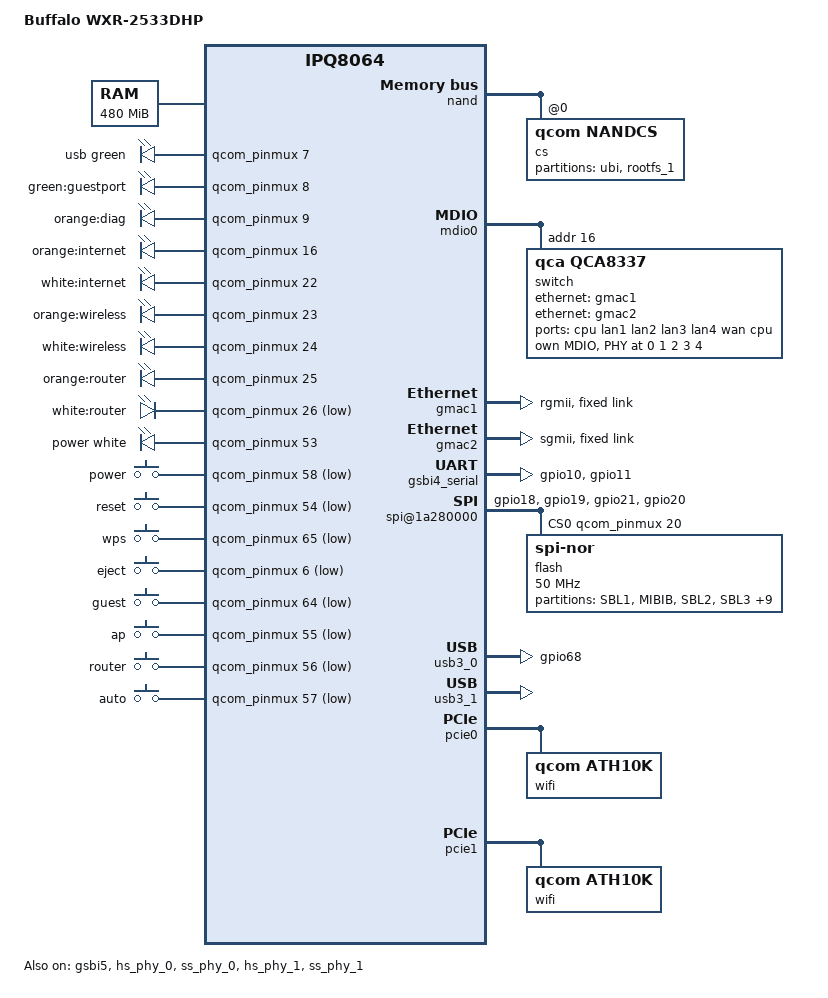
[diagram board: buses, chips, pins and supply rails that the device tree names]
// SPDX-License-Identifier: GPL-2.0-or-later OR MIT
#include "qcom-ipq8064-v2.0-smb208.dtsi"

#include <dt-bindings/input/input.h>
#include <dt-bindings/leds/common.h>

/ {
	model = "Buffalo WXR-2533DHP";
	compatible = "buffalo,wxr-2533dhp", "qcom,ipq8064";

	memory@42000000 {
		reg = <0x42000000 0x1e000000>;
		device_type = "memory";
	};

	aliases {
		led-boot = &power;
		led-failsafe = &diag;
		led-running = &power;
		led-upgrade = &power;
	};

	chosen {
		/* use "ubi_rootfs" volume in "ubi" partition as rootfs */
		bootargs = "ubi.block=0,1 root=/dev/ubiblock0_1 rootfstype=squashfs";
	};

	leds {
		compatible = "gpio-leds";
		pinctrl-0 = <&led_pins>;
		pinctrl-names = "default";

		usb {
			function = LED_FUNCTION_USB;
			color = <LED_COLOR_ID_GREEN>;
			gpios = <&qcom_pinmux 7 GPIO_ACTIVE_HIGH>;
			linux,default-trigger = "usbport";
			trigger-sources = <&hub_port0 &hub_port1>;
		};

		guestport {
			label = "green:guestport";
			gpios = <&qcom_pinmux 8 GPIO_ACTIVE_HIGH>;
		};

		diag: diag {
			label = "orange:diag";
			gpios = <&qcom_pinmux 9 GPIO_ACTIVE_HIGH>;
		};

		internet_orange {
			label = "orange:internet";
			gpios = <&qcom_pinmux 16 GPIO_ACTIVE_HIGH>;
		};

		internet_white {
			label = "white:internet";
			gpios = <&qcom_pinmux 22 GPIO_ACTIVE_HIGH>;
		};

		wireless_orange {
			label = "orange:wireless";
			gpios = <&qcom_pinmux 23 GPIO_ACTIVE_HIGH>;
		};

		wireless_white {
			label = "white:wireless";
			gpios = <&qcom_pinmux 24 GPIO_ACTIVE_HIGH>;
		};

		router_orange {
			label = "orange:router";
			gpios = <&qcom_pinmux 25 GPIO_ACTIVE_HIGH>;
		};

		router_white {
			label = "white:router";
			gpios = <&qcom_pinmux 26 GPIO_ACTIVE_LOW>;
		};

		power: power {
			function = LED_FUNCTION_POWER;
			color = <LED_COLOR_ID_WHITE>;
			gpios = <&qcom_pinmux 53 GPIO_ACTIVE_HIGH>;
		};
	};

	keys {
		compatible = "gpio-keys";
		pinctrl-0 = <&button_pins>;
		pinctrl-names = "default";

		power {
			label = "power";
			gpios = <&qcom_pinmux 58 GPIO_ACTIVE_LOW>;
			linux,code = <KEY_POWER>;
			debounce-interval = <60>;
			wakeup-source;
		};

		reset {
			label = "reset";
			gpios = <&qcom_pinmux 54 GPIO_ACTIVE_LOW>;
			linux,code = <KEY_RESTART>;
			debounce-interval = <60>;
			wakeup-source;
		};

		wps {
			label = "wps";
			gpios = <&qcom_pinmux 65 GPIO_ACTIVE_LOW>;
			linux,code = <KEY_WPS_BUTTON>;
			debounce-interval = <60>;
			wakeup-source;
		};

		eject {
			label = "eject";
			gpios = <&qcom_pinmux 6 GPIO_ACTIVE_LOW>;
			linux,code = <KEY_EJECTCD>;
			debounce-interval = <60>;
			wakeup-source;
		};

		guest {
			label = "guest";
			gpios = <&qcom_pinmux 64 GPIO_ACTIVE_LOW>;
			linux,code = <BTN_0>;
			debounce-interval = <60>;
			wakeup-source;
		};

		ap {
			label = "ap";
			gpios = <&qcom_pinmux 55 GPIO_ACTIVE_LOW>;
			linux,code = <BTN_1>;
			linux,input-type = <EV_SW>;
			debounce-interval = <60>;
			wakeup-source;
		};

		router {
			label = "router";
			gpios = <&qcom_pinmux 56 GPIO_ACTIVE_LOW>;
			linux,code = <BTN_1>;
			linux,input-type = <EV_SW>;
			debounce-interval = <60>;
			wakeup-source;
		};

		auto {
			label = "auto";
			gpios = <&qcom_pinmux 57 GPIO_ACTIVE_LOW>;
			linux,code = <BTN_1>;
			linux,input-type = <EV_SW>;
			debounce-interval = <60>;
			wakeup-source;
		};
	};
};

&nand {
	status = "okay";

	cs@0 {
		reg = <0>;
		compatible = "qcom,nandcs";

		nand-ecc-strength = <4>;
		nand-bus-width = <8>;
		nand-ecc-step-size = <512>;

		partitions {
			compatible = "fixed-partitions";
			#address-cells = <1>;
			#size-cells = <1>;

			ubi@0 {
				label = "ubi";
				reg = <0x0000000 0x4000000>;
			};

			rootfs_1@4000000 {
				label = "rootfs_1";
				reg = <0x4000000 0x4000000>;
			};
		};
	};
};

&adm_dma {
	status = "okay";
};

&mdio0 {
	status = "okay";

	pinctrl-0 = <&mdio0_pins>;
	pinctrl-names = "default";

	switch@10 {
		compatible = "qca,qca8337";
		#address-cells = <1>;
		#size-cells = <0>;
		reg = <0x10>;

		ports {
			#address-cells = <1>;
			#size-cells = <0>;

			port@0 {
				reg = <0>;
				label = "cpu";
				ethernet = <&gmac1>;
				phy-mode = "rgmii";
				tx-internal-delay-ps = <1000>;
				rx-internal-delay-ps = <1000>;

				fixed-link {
					speed = <1000>;
					full-duplex;
				};
			};

			port@1 {
				reg = <1>;
				label = "lan1";
				phy-mode = "internal";
				phy-handle = <&phy_port1>;
			};

			port@2 {
				reg = <2>;
				label = "lan2";
				phy-mode = "internal";
				phy-handle = <&phy_port2>;
			};

			port@3 {
				reg = <3>;
				label = "lan3";
				phy-mode = "internal";
				phy-handle = <&phy_port3>;
			};

			port@4 {
				reg = <4>;
				label = "lan4";
				phy-mode = "internal";
				phy-handle = <&phy_port4>;
			};

			port@5 {
				reg = <5>;
				label = "wan";
				phy-mode = "internal";
				phy-handle = <&phy_port5>;
			};

			port@6 {
				reg = <6>;
				label = "cpu";
				ethernet = <&gmac2>;
				phy-mode = "sgmii";
				qca,sgmii-enable-pll;

				fixed-link {
					speed = <1000>;
					full-duplex;
				};
			};
		};

		mdio {
			#address-cells = <1>;
			#size-cells = <0>;

			phy_port1: phy@0 {
				reg = <0>;
			};

			phy_port2: phy@1 {
				reg = <1>;
			};

			phy_port3: phy@2 {
				reg = <2>;
			};

			phy_port4: phy@3 {
				reg = <3>;
			};

			phy_port5: phy@4 {
				reg = <4>;
			};
		};
	};
};

&gmac1 {
	status = "okay";

	phy-mode = "rgmii";
	qcom,id = <1>;

	pinctrl-0 = <&rgmii2_pins>;
	pinctrl-names = "default";

	nvmem-cells = <&macaddr_ART_6>;
	nvmem-cell-names = "mac-address";

	fixed-link {
		speed = <1000>;
		full-duplex;
	};
};

&gmac2 {
	status = "okay";

	phy-mode = "sgmii";
	qcom,id = <2>;

	nvmem-cells = <&macaddr_ART_0>;
	nvmem-cell-names = "mac-address";

	fixed-link {
		speed = <1000>;
		full-duplex;
	};
};

&gsbi4_serial {
	pinctrl-0 = <&uart0_pins>;
	pinctrl-names = "default";
};

&gsbi5 {
	status = "okay";
	qcom,mode = <GSBI_PROT_SPI>;

	spi@1a280000 {
		status = "okay";

		pinctrl-0 = <&spi_pins>;
		pinctrl-names = "default";

		cs-gpios = <&qcom_pinmux 20 GPIO_ACTIVE_HIGH>;

		flash@0 {
			compatible = "jedec,spi-nor";
			spi-max-frequency = <50000000>;
			reg = <0>;

			partitions {
				compatible = "fixed-partitions";
				#address-cells = <1>;
				#size-cells = <1>;

				SBL1@0 {
					label = "SBL1";
					reg = <0x0 0x10000>;
					read-only;
				};

				MIBIB@10000 {
					label = "MIBIB";
					reg = <0x10000 0x20000>;
					read-only;
				};

				SBL2@30000 {
					label = "SBL2";
					reg = <0x30000 0x30000>;
					read-only;
				};

				SBL3@60000 {
					label = "SBL3";
					reg = <0x60000 0x30000>;
					read-only;
				};

				DDRCONFIG@90000 {
					label = "DDRCONFIG";
					reg = <0x90000 0x10000>;
					read-only;
				};

				SSD@a0000 {
					label = "SSD";
					reg = <0xa0000 0x10000>;
					read-only;
				};

				TZ@b0000 {
					label = "TZ";
					reg = <0xb0000 0x30000>;
					read-only;
				};

				RPM@e0000 {
					label = "RPM";
					reg = <0xe0000 0x20000>;
					read-only;
				};

				APPSBL@100000 {
					label = "APPSBL";
					reg = <0x100000 0x70000>;
					read-only;
				};

				APPSBLENV@170000 {
					label = "APPSBLENV";
					reg = <0x170000 0x10000>;
					read-only;
				};

				ART@180000 {
					label = "ART";
					reg = <0x180000 0x40000>;
					read-only;

					nvmem-layout {
						compatible = "fixed-layout";
						#address-cells = <1>;
						#size-cells = <1>;

						macaddr_ART_0: macaddr@0 {
							reg = <0x0 0x6>;
						};

						macaddr_ART_6: macaddr@6 {
							reg = <0x6 0x6>;
						};

						macaddr_ART_18: macaddr@18 {
							reg = <0x18 0x6>;
						};

						macaddr_ART_1e: macaddr@1e {
							reg = <0x1e 0x6>;
						};

						precal_ART_1000: precal@1000 {
							reg = <0x1000 0x2f20>;
						};

						precal_ART_5000: precal@5000 {
							reg = <0x5000 0x2f20>;
						};
					};
				};

				BOOTCONFIG@1c0000 {
					label = "BOOTCONFIG";
					reg = <0x1c0000 0x10000>;
					read-only;
				};

				APPSBL_1@1d0000 {
					label = "APPSBL_1";
					reg = <0x1d0000 0x70000>;
					read-only;
				};
			};
		};
	};
};

&hs_phy_0 {
	status = "okay";
};

&ss_phy_0 {
	status = "okay";
};

&usb3_0 {
	status = "okay";

	pinctrl-0 = <&usb_pwr_en_pins>;
	pinctrl-names = "default";
};

&hs_phy_1 {
	status = "okay";
};

&ss_phy_1 {
	status = "okay";
};

&usb3_1 {
	status = "okay";
};

&dwc3_0 {
	#address-cells = <1>;
	#size-cells = <0>;

	hub_port0: port@1 {
		reg = <1>;
		#trigger-source-cells = <0>;
	};
};

&dwc3_1 {
	#address-cells = <1>;
	#size-cells = <0>;

	hub_port1: port@1 {
		reg = <1>;
		#trigger-source-cells = <0>;
	};
};

&pcie0 {
	status = "okay";

	bridge@0,0 {
		reg = <0x00000000 0 0 0 0>;
		#address-cells = <3>;
		#size-cells = <2>;
		ranges;

		wifi@1,0 {
			compatible = "qcom,ath10k";
			reg = <0x00010000 0 0 0 0>;

			nvmem-cells = <&macaddr_ART_1e>, <&precal_ART_1000>;
			nvmem-cell-names = "mac-address", "pre-calibration";
		};
	};
};

&pcie1 {
	status = "okay";
	max-link-speed = <1>;

	bridge@0,0 {
		reg = <0x00000000 0 0 0 0>;
		#address-cells = <3>;
		#size-cells = <2>;
		ranges;

		wifi@1,0 {
			compatible = "qcom,ath10k";
			reg = <0x00010000 0 0 0 0>;

			nvmem-cells = <&macaddr_ART_18>, <&precal_ART_5000>;
			nvmem-cell-names = "mac-address", "pre-calibration";
		};
	};
};

&qcom_pinmux {
	button_pins: button_pins {
		mux {
			pins = "gpio6", "gpio54", "gpio55", "gpio56", "gpio57",
				"gpio58", "gpio64", "gpio65";
			function = "gpio";
			drive-strength = <2>;
			bias-pull-up;
		};
	};

	led_pins: led_pins {
		mux {
			pins = "gpio7", "gpio8", "gpio9", "gpio16", "gpio22",
				"gpio23", "gpio24", "gpio25", "gpio26", "gpio53";
			function = "gpio";
			drive-strength = <2>;
			bias-pull-up;
		};
	};

	uart0_pins: uart0_pins {
		mux {
			pins = "gpio10", "gpio11";
			function = "gsbi4";
			drive-strength = <12>;
			bias-disable;
		};
	};

	spi_pins: spi_pins {
		mux {
			pins = "gpio18", "gpio19", "gpio21";
			function = "gsbi5";
			bias-pull-down;
		};

		data {
			pins = "gpio18", "gpio19";
			drive-strength = <10>;
		};

		cs{
			pins = "gpio20";
			drive-strength = <10>;
			bias-pull-up;
		};

		clk {
			pins = "gpio21";
			drive-strength = <12>;
		};
	};

	usb_pwr_en_pins: usb_pwr_en_pins {
		mux{
			pins = "gpio68";
			function = "gpio";
			drive-strength = <2>;
			bias-pull-up;
			output-high;
		};
	};
};
